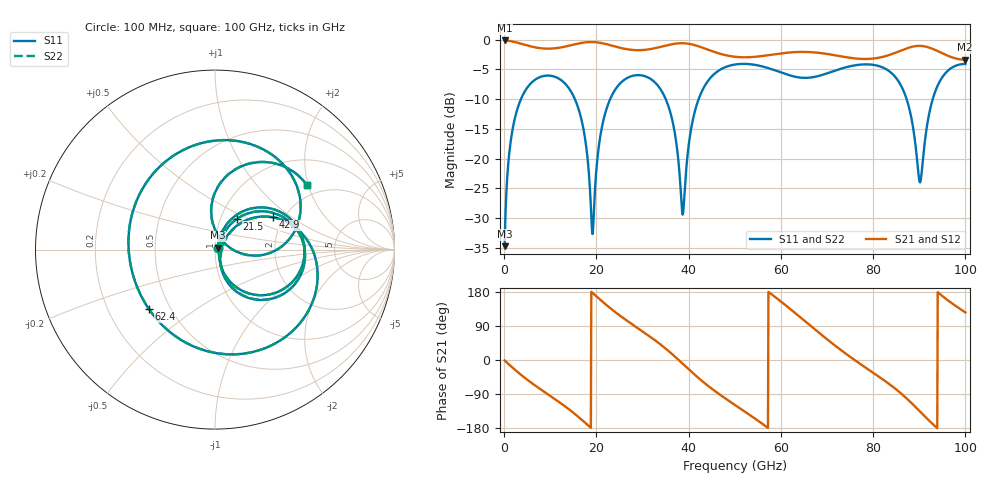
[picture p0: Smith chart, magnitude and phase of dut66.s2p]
! Touchstone file exported from HFSS 2026.1.0
!  File:  C:/ffzhzh/LocalFiles/Ansys_Project_Files/temp_train_TSV_RDL_66_1783448323_28540.aedt
!  Generated:  02:30:08 AM Jul  8, 2026
!  Design:  TSV_RDL
!  Project:  temp_train_TSV_RDL_66_1783448323_28540
! Variables:
!  h_bsmrdl = 4.06um
!  h_ox = 20um
!  h_rdl = 5um
!  h_sub = 98.13um
!  h_tmrdl = 3.61um
!  h_tsv = 98.13um
!  h_via = 3um
!  l_bsmrdl = 366.84um
!  l_sub = 2977.36um
!  l_tmrdl = 339.12um
!  m_sub = 200um
!  pitch = 45.12um
!  r_tsv = 6.31um
!  s_tmrdl = 10um
!  w_bsmrdl = 13.21um
!  w_sub = 500um
!  w_tmrdl = 26.91um
!  x_tsv_center1 = 352.575um
!  x_tsv_center2 = 732.625um
!  x_tsv_center3 = 1098.655um
!  x_tsv_center4 = 1478.705um
!  x_tsv_center5 = 1844.735um
!  x_tsv_center6 = 2224.785um
# GHz S MA R 50.000000
! Terminal data exported
! Port[1] = TM_RDL1_1_T1
! Port[2] = TM_RDL5_1_T1
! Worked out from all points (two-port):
!   1000 points, 100 MHz to 100 GHz, reference 50 ohm
!   highest |S21| = -0.13 dB at 100 MHz (marker M1); lowest = -3.4 dB at 99.9 GHz (marker M2)
!   |S21| within 3 dB of the highest: start of sweep to 75.85 GHz; 80.47 GHz to 97.79 GHz (17.31 GHz wide, 19.4 % of centre)
!   lowest |S11| = -34.7 dB at 100 MHz (marker M3), VSWR 1.04, Z = 51.5 + j1.08 ohm
!   |S11| at or under -10 dB: 15.34 GHz to 22.98 GHz (7.634 GHz wide, 39.8 % of centre); 35.03 GHz to 42.16 GHz (7.128 GHz wide, 18.5 % of centre); 87.26 GHz to 92.91 GHz (5.653 GHz wide, 6.28 % of centre) (the widest 3 of 4)
!   |S22| runs from -34.7 to -4.1 dB; largest |S21 - S12| = 6.2e-14
!   S11 on the Smith chart (normalised r, x): 100 MHz: 1.03, +0.02; 21.5 GHz: 1.19, +0.42; 42.9 GHz: 1.76, +0.74; 62.4 GHz: 0.38, -0.33; 100 GHz: 1.66, +1.96
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0.1  0.01842 34.8  0.985 -1.2  0.985 -1.2  0.01842 34.8
! Gamma 0 0 0 0
! Port Impedance 50 0 50 0
1.7  0.1651 64.4  0.9669 -18.9  0.9669 -18.9  0.1651 64.4
5  0.3952 34.7  0.8946 -52.0  0.8946 -52.0  0.3952 34.7
11.6  0.4768 -19.3  0.8519 -108.2  0.8519 -108.2  0.4768 -19.3
16.8  0.2099 -63.6  0.9395 -157.4  0.9395 -157.4  0.2099 -63.6
19.2  0.02335 5.9  0.9551 176.7  0.9551 176.7  0.02312 6.0
21.5  0.2089 54.6  0.9296 152.0  0.9296 152.0  0.2088 54.7
26.8  0.4796 10.1  0.8294 102.3  0.8294 102.3  0.4795 10.2
33.4  0.4079 -42.9  0.8606 45.8  0.8606 45.8  0.408 -42.5
36.6  0.1986 -68.9  0.9195 13.6  0.9195 13.6  0.1989 -68.0
38.7  0.03394 -13.5  0.9335 -9.7  0.9335 -9.7  0.03692 -12.9
42.9  0.3702 29.2  0.8597 -55.4  0.8597 -55.4  0.3706 28.9
50.1  0.6191 -30.3  0.7182 -119.1  0.7182 -119.1  0.6193 -30.2
57.1  0.5798 -87.7  0.7393 -178.4  0.7393 -178.4  0.58 -87.3
62.4  0.4954 -138.1  0.7835 130.9  0.7835 130.9  0.4955 -137.5
66.7  0.4823 177.6  0.7848 87.5  0.7848 87.5  0.4822 178.3
74.3  0.589 103.4  0.7109 14.6  0.7109 14.6  0.5886 103.8
83.4  0.5465 29.4  0.7419 -62.6  0.7419 -62.6  0.5462 29.5
90.2  0.06334 47.1  0.8866 -136.5  0.8866 -136.5  0.06209 47.4
93.7  0.3877 83.8  0.8116 -177.8  0.8116 -177.8  0.3876 84.1
99.9  0.6252 35.6  0.6792 126.3  0.6792 126.3  0.6254 35.8
100  0.6252 34.9  0.6792 125.5  0.6792 125.5  0.6254 35.2
